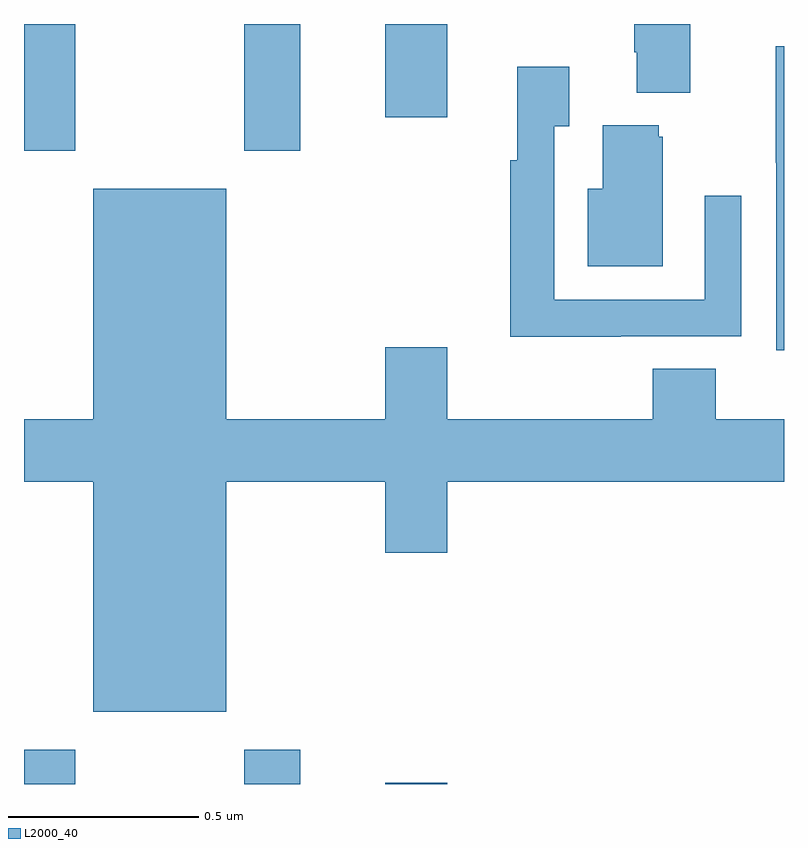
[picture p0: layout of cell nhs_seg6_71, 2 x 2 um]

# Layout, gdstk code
import gdstk
lib = gdstk.Library(unit=1e-6, precision=1e-09)
def R(c, l, rs):  # rectangles x0, y0, x1, y1
    for r in rs: c.add(gdstk.rectangle(r[:2], r[2:], *l))
def P(c, l, *ps):  # polygons
    for p in ps: c.add(gdstk.Polygon(p, *l))
L2000_40 = (2000, 40)

nhs_seg6_71 = lib.new_cell('nhs_seg6_71')
R(nhs_seg6_71, L2000_40, [(111,986.5,111.135,986.59), (111.58,986.5,111.727,986.59), (111.95,986.5,112.114,986.503), (111,988.167,111.135,988.5), (111.58,988.167,111.727,988.5), (111.95,988.254,112.114,988.5)])
P(nhs_seg6_71, L2000_40, [(112.753,988.5),(112.606,988.5),(112.606,988.426),(112.613,988.426),(112.613,988.319),(112.753,988.319)],
  [(113,988.442),(112.978,988.442),(112.978,988.135),(112.98,988.135),(112.98,987.642),(113,987.642)],
  [(112.571,987.678),(112.887,987.678),(112.887,988.048),(112.791,988.048),(112.791,987.774),(112.395,987.774),(112.395,988.231),(112.435,988.231),(112.435,988.387),(112.298,988.387),(112.298,988.142),(112.279,988.142),(112.279,987.677),(112.571,987.677)],
  [(112.681,988.203),(112.67,988.203),(112.67,988.234),(112.523,988.234),(112.523,988.066),(112.484,988.066),(112.484,987.863),(112.681,987.863)],
  [(111.532,987.296),(111.95,987.296),(111.95,987.108),(112.114,987.108),(112.114,987.296),(113,987.296),(113,987.46),(112.82,987.46),(112.82,987.593),(112.655,987.593),(112.655,987.46),(112.114,987.46),(112.114,987.649),(111.95,987.649),(111.95,987.46),(111.532,987.46),(111.532,988.066),(111.182,988.066),(111.182,987.46),(111,987.46),(111,987.296),(111.182,987.296),(111.182,986.69),(111.532,986.69)])

lib.write_gds('nhs_seg6_71.gds')
